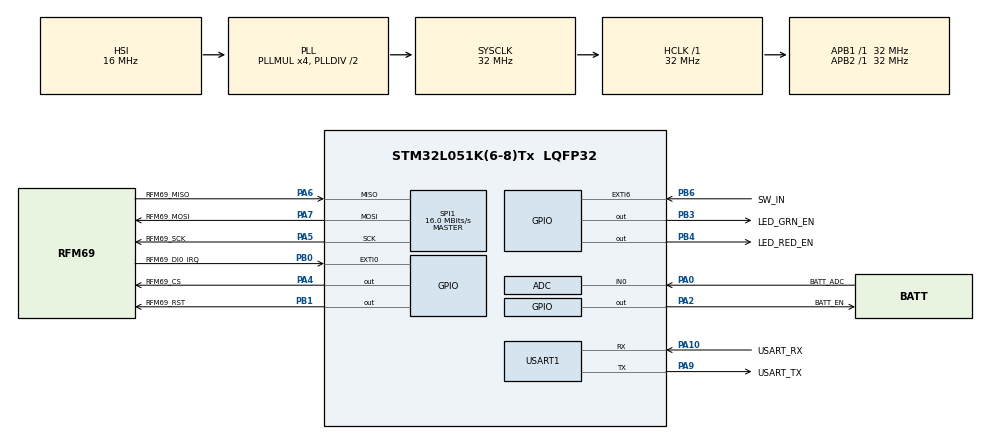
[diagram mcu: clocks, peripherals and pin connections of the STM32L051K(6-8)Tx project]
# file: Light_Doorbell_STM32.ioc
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ADC.EnableAnalogWatchDog=false
ADC.SamplingTime=ADC_SAMPLETIME_160CYCLES_5
Mcu.Family=STM32L0
Mcu.Name=STM32L051K(6-8)Tx
Mcu.Package=LQFP32
NVIC.EXTI0_1_IRQn=true\:0\:0\:false\:false\:true\:true\:true\:true
NVIC.EXTI4_15_IRQn=true\:0\:0\:false\:false\:true\:true\:true\:true
NVIC.PVD_IRQn=true\:0\:0\:false\:false\:true\:true\:true\:true
PA0.GPIO_Label=BATT_ADC
PA0.Mode=IN0
PA0.Signal=ADC_IN0
PA10.GPIO_Label=USART_RX
PA10.Mode=Asynchronous
PA10.Signal=USART1_RX
PA13.Mode=Serial_Wire
PA13.Signal=SYS_SWDIO
PA14.Mode=Serial_Wire
PA14.Signal=SYS_SWCLK
PA2.GPIO_Label=BATT_EN
PA2.Signal=GPIO_Output
PA4.GPIO_Label=RFM69_CS
PA4.Signal=GPIO_Output
PA5.GPIO_Label=RFM69_SCK
PA5.Mode=Full_Duplex_Master
PA5.Signal=SPI1_SCK
PA6.GPIO_Label=RFM69_MISO
PA6.Mode=Full_Duplex_Master
PA6.Signal=SPI1_MISO
PA7.GPIO_Label=RFM69_MOSI
PA7.Mode=Full_Duplex_Master
PA7.Signal=SPI1_MOSI
PA9.GPIO_Label=USART_TX
PA9.Mode=Asynchronous
PA9.Signal=USART1_TX
PB0.GPIO_Label=RFM69_DI0_IRQ
PB0.Signal=GPXTI0
PB1.GPIO_Label=RFM69_RST
PB1.Signal=GPIO_Output
PB3.GPIO_Label=LED_GRN_EN
PB3.Signal=GPIO_Output
PB4.GPIO_Label=LED_RED_EN
PB4.Signal=GPIO_Output
PB6.GPIO_Label=SW_IN
PB6.GPIO_ModeDefaultEXTI=GPIO_MODE_IT_FALLING
PB6.Signal=GPXTI6
ProjectManager.HeapSize=0x200
ProjectManager.StackSize=0x400
ProjectManager.TargetToolchain=STM32CubeIDE
RCC.AHBFreq_Value=32000000
RCC.APB1Freq_Value=32000000
RCC.APB1TimFreq_Value=32000000
RCC.APB2Freq_Value=32000000
RCC.APB2TimFreq_Value=32000000
RCC.HCLKFreq_Value=32000000
RCC.HSI16_VALUE=16000000
RCC.HSI_VALUE=16000000
RCC.LSE_VALUE=32768
RCC.MSI_VALUE=2097000
RCC.PLLMUL=RCC_PLLMUL_4
RCC.SYSCLKFreq_VALUE=32000000
RCC.SYSCLKSource=RCC_SYSCLKSOURCE_PLLCLK
RCC.VCOOutputFreq_Value=64000000
RCC.VDD_VALUE=3
SPI1.CalculateBaudRate=16.0 MBits/s
SPI1.Direction=SPI_DIRECTION_2LINES
SPI1.Mode=SPI_MODE_MASTER
SPI1.VirtualType=VM_MASTER
USART1.VirtualMode-Asynchronous=VM_ASYNC
VP_ADC_Vref_Input.Mode=IN-Vrefint
board=custom

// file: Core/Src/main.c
/* USER CODE BEGIN Header */
/**
 * @file        main.c
 * @brief       Light Doorbell main program
 * @author      Esteban CADIC
 *              STMicroelectronics
 *              André Heßling
 * @version     1.0
 * @date        2025
 * @copyright   MIT License
 *
 */
/* USER CODE END Header */
#include "main.h"
#include "adc.h"
#include "spi.h"
#include "usart.h"
#include "gpio.h"

/* USER CODE BEGIN Includes */
#include <stdio.h>

#include "retarget.h"
#include "rfm69.h"
#include "leds.h"
#include "batt.h"
/* USER CODE END Includes */

/* USER CODE BEGIN PD */
#define DOORBELL_CODE 				0x42
#define DOORBELL_SEND_DURATION_MS	280

/*
 * | ListenResolX | Min duration (ListenCoef = 1) | Max duration (ListenCoef = 255) |
 * |--------------|-------------------------------|---------------------------------|
 * | 01           | 64 us                         | 16 ms                           |
 * | 10           | 4.1 ms                        | 1.04 s                          |
 * | 11           | 0.26 s                        | 67 s                            |
 */
#define RFM69_LISTEN_RES_IDLE	3 // 0.26s
#define RFM69_LISTEN_COEF_IDLE	1 // 1*0.26s = 0.26s IDLE
#define RFM69_LISTEN_RES_RX		1 // 64 µS
#define RFM69_LISTEN_COEF_RX	16 // 16*64 µs = 1024 µS RX
/* USER CODE END PD */

/* USER CODE BEGIN PV */
uint8_t g_flag_switch = 0;
uint8_t g_flag_message = 0;

static uint8_t flag_sleep = 0;
static RFM69_t tx;

/* USER CODE END PV */

void SystemClock_Config(void);
/* USER CODE BEGIN PFP */
static void SYS_Shutdown(void);
static void MCU_Sleep(void);
static void MCU_Wakeup(void);
/* USER CODE END PFP */

int main(void)
{

	/* USER CODE BEGIN 1 */
	uint8_t rx_buffer[1];
	uint8_t tx_message[] = { DOORBELL_CODE };

	/* USER CODE END 1 */

	/* MCU Configuration--------------------------------------------------------*/

	/* Reset of all peripherals, Initializes the Flash interface and the Systick. */
	HAL_Init();

	/* Configure the system clock */
	SystemClock_Config();

	/* USER CODE BEGIN SysInit */
	HAL_Delay(4000); // Delay for the STLINK before sleep
	/* USER CODE END SysInit */

	/* Initialize all configured peripherals */
	MX_GPIO_Init();
	MX_ADC_Init();
	MX_SPI1_Init();
	MX_USART1_UART_Init();
	/* USER CODE BEGIN 2 */
	RetargetInit(&huart1); // printf()
	HAL_ADCEx_Calibration_Start(&hadc, ADC_SINGLE_ENDED);

	// RFM69
	tx.cs.pin = RFM69_CS_Pin;
	tx.cs.port = RFM69_CS_GPIO_Port;
	tx.reset.pin = RFM69_RST_Pin;
	tx.reset.port = RFM69_RST_GPIO_Port;
	tx.spi = &hspi1;
	tx.high_power_en = 1;

	RFM69_Init(&tx);

	if(RFM69_SetPowerDBm(&tx, 20))
		printf("RFM69_SetPowerDBm() to 20 dBm failure!\n");

	RFM69_ActiveListenMode(&tx, RFM69_LISTEN_RES_IDLE, RFM69_LISTEN_COEF_IDLE, RFM69_LISTEN_RES_RX, RFM69_LISTEN_COEF_RX);

	printf("RFM69 initialized!\n");

	// Go to stop mode
	MCU_Sleep();

	/* USER CODE END 2 */

	/* Infinite loop */
	/* USER CODE BEGIN WHILE */
	while(1)
	{
		if(flag_sleep == 1) // If was in sleep mode
			MCU_Wakeup();

		if(g_flag_switch) // Switch pressed
		{
			LEDs_SetColorBatteryVoltage();

			// Disable Listen mode
			RFM69_DisableListenMode(&tx, RFM69_MODE_SLEEP);

			// Changing DI0 mapping to nothing
			RFM69_ChangeDI0Mapping(&tx, RFM69_DI0_TX_NONE);

			printf("Switch pressed! Sending the code...\n");

			// Sending the code for DOORBELL_SEND_DURATION_MS
			uint32_t tx_time = HAL_GetTick();
			while(HAL_GetTick() - tx_time < DOORBELL_SEND_DURATION_MS)
				RFM69_SendMessage(&tx, tx_message, sizeof(tx_message) / sizeof(tx_message[0]));

			LEDs_Reset();

			g_flag_switch = 0;

			// Changing DI0 mapping to RX PayloadReady
			RFM69_ChangeDI0Mapping(&tx, RFM69_DI0_RX_PAYLOAD_READY);

			// Enable Listen mode
			RFM69_ActiveListenMode(&tx, RFM69_LISTEN_RES_IDLE, RFM69_LISTEN_COEF_IDLE, RFM69_LISTEN_RES_RX, RFM69_LISTEN_COEF_RX);
		}

		if(g_flag_message) // Message in the RFM69 FIFO (DI0 IRQ)
		{
			// Disable RFM69 DI0 IRQ
			HAL_NVIC_DisableIRQ(EXTI0_1_IRQn);

			printf("Reading the message in the RFM69 FIFO\n");
			size_t bytes_received = RFM69_ReceiveMessage(&tx, rx_buffer, sizeof(rx_buffer) / sizeof(rx_buffer[0]));

			if(bytes_received > 0)
			{
				printf("%d bytes received : ", bytes_received);
				for(size_t i = 0; i < bytes_received; i++)
					printf("%02X ", rx_buffer[i]);
				printf("\n");

				if(rx_buffer[0] == DOORBELL_CODE) // Doorbell code received
					LEDs_RXMessage();
			}

			g_flag_message = 0;

			// Enable RFM69 DI0 IRQ
			HAL_NVIC_EnableIRQ(EXTI0_1_IRQn);
		}

		float batt_voltage = BATT_MeasureVoltage();
		printf("Battery voltage is %.2fV\n", batt_voltage);

		if(batt_voltage < BATT_CRITICAL_VOLTAGE)
			SYS_Shutdown();

		if(g_flag_message == 0 && g_flag_switch == 0)
			MCU_Sleep();

		/* USER CODE END WHILE */

	}
}

void SystemClock_Config(void)
{
	RCC_OscInitTypeDef RCC_OscInitStruct = { 0 };
	RCC_ClkInitTypeDef RCC_ClkInitStruct = { 0 };
	RCC_PeriphCLKInitTypeDef PeriphClkInit = { 0 };

	/** Configure the main internal regulator output voltage
	 */
	__HAL_PWR_VOLTAGESCALING_CONFIG(PWR_REGULATOR_VOLTAGE_SCALE1);

	/** Initializes the RCC Oscillators according to the specified parameters
	 * in the RCC_OscInitTypeDef structure.
	 */
	RCC_OscInitStruct.OscillatorType = RCC_OSCILLATORTYPE_HSI;
	RCC_OscInitStruct.HSIState = RCC_HSI_ON;
	RCC_OscInitStruct.HSICalibrationValue = RCC_HSICALIBRATION_DEFAULT;
	RCC_OscInitStruct.PLL.PLLState = RCC_PLL_ON;
	RCC_OscInitStruct.PLL.PLLSource = RCC_PLLSOURCE_HSI;
	RCC_OscInitStruct.PLL.PLLMUL = RCC_PLLMUL_4;
	RCC_OscInitStruct.PLL.PLLDIV = RCC_PLLDIV_2;
	if(HAL_RCC_OscConfig(&RCC_OscInitStruct) != HAL_OK)
	{
		Error_Handler();
	}

	/** Initializes the CPU, AHB and APB buses clocks
	 */
	RCC_ClkInitStruct.ClockType = RCC_CLOCKTYPE_HCLK | RCC_CLOCKTYPE_SYSCLK | RCC_CLOCKTYPE_PCLK1 | RCC_CLOCKTYPE_PCLK2;
	RCC_ClkInitStruct.SYSCLKSource = RCC_SYSCLKSOURCE_PLLCLK;
	RCC_ClkInitStruct.AHBCLKDivider = RCC_SYSCLK_DIV1;
	RCC_ClkInitStruct.APB1CLKDivider = RCC_HCLK_DIV1;
	RCC_ClkInitStruct.APB2CLKDivider = RCC_HCLK_DIV1;

	if(HAL_RCC_ClockConfig(&RCC_ClkInitStruct, FLASH_LATENCY_1) != HAL_OK)
	{
		Error_Handler();
	}
	PeriphClkInit.PeriphClockSelection = RCC_PERIPHCLK_USART1;
	PeriphClkInit.Usart1ClockSelection = RCC_USART1CLKSOURCE_PCLK2;
	if(HAL_RCCEx_PeriphCLKConfig(&PeriphClkInit) != HAL_OK)
	{
		Error_Handler();
	}
}

/* USER CODE BEGIN 4 */
/**
 * @brief Shutdown the system.
 * The system will go to standby mode if the battery voltage is too low, to protect the battery.
 * Only a manual reset will wake up the system.
 *
 */
static void SYS_Shutdown(void)
{
	printf("Not enough battery to continue!\n");

	printf("Stopping the RFM69...\n");
	RFM69_DisableListenMode(&tx, RFM69_MODE_SLEEP);

	printf("Going to STM32 standby mode... Bye!\n");
	HAL_SuspendTick();
	HAL_PWR_EnterSTANDBYMode();
}

/**
 * @brief Enable STM32 STOP mode.
 * The MCU will be woken up by a GPIO interrupt (RFM69 DI0 message received or switch pressed).
 */
static void MCU_Sleep(void)
{
	flag_sleep = 1;

	printf("Going to STM32 stop mode...\n");

	HAL_SuspendTick();
	HAL_PWR_EnterSTOPMode(PWR_LOWPOWERREGULATOR_ON, PWR_STOPENTRY_WFI);
}

/**
 * @brief Restore the MCU from STOP mode.
 *
 */
static void MCU_Wakeup(void)
{
	printf("Waking up!\n");

	SystemClock_Config();
	HAL_ResumeTick();

	flag_sleep = 0;
}
/* USER CODE END 4 */

void Error_Handler(void)
{
	__disable_irq();
	while(1)
	{
	}
}
